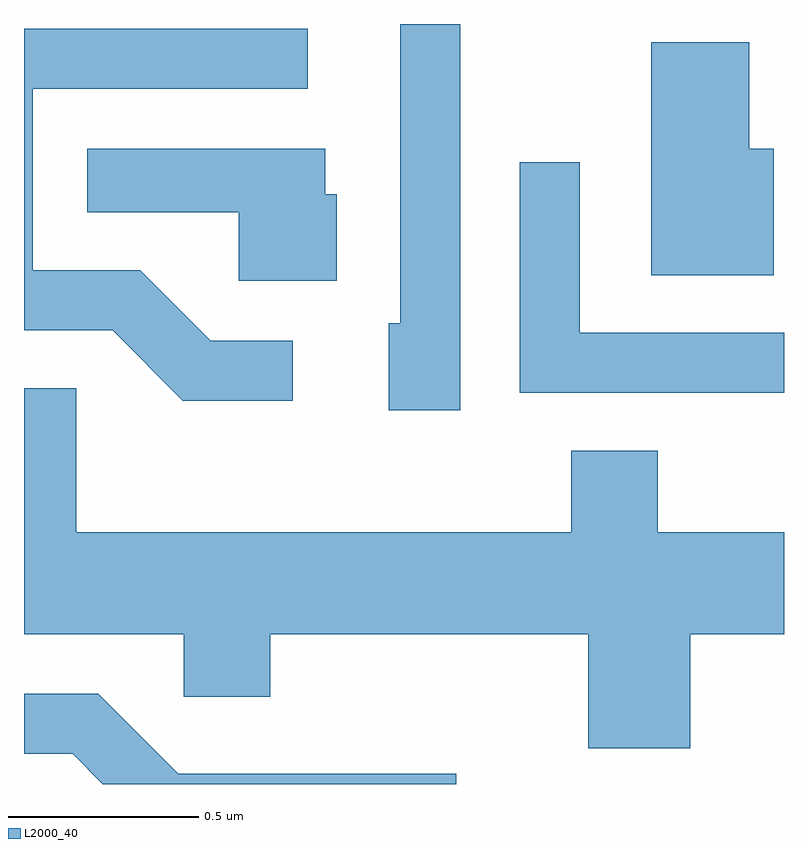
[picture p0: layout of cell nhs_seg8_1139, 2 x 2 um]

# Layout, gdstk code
import gdstk
lib = gdstk.Library(unit=1e-6, precision=1e-09)
def P(c, l, *ps):  # polygons
    for p in ps: c.add(gdstk.Polygon(p, *l))
L2000_40 = (2000, 40)

nhs_seg8_1139 = lib.new_cell('nhs_seg8_1139')
P(nhs_seg8_1139, L2000_40, [(194.759,1851.342),(194.601,1851.342),(194.601,1850.554),(194.571,1850.554),(194.571,1850.326),(194.759,1850.326)],
  [(194.318,1850.509),(194.102,1850.509),(193.917,1850.694),(193.634,1850.694),(193.634,1851.171),(194.358,1851.171),(194.358,1851.329),(193.611,1851.329),(193.611,1850.536),(193.844,1850.536),(194.029,1850.351),(194.318,1850.351)],
  [(195.584,1851.014),(195.519,1851.014),(195.519,1851.294),(195.261,1851.294),(195.261,1850.681),(195.584,1850.681)],
  [(194.434,1850.894),(194.404,1850.894),(194.404,1851.014),(193.778,1851.014),(193.778,1850.846),(194.176,1850.846),(194.176,1850.666),(194.434,1850.666)],
  [(195.611,1850.529),(195.074,1850.529),(195.074,1850.978),(194.916,1850.978),(194.916,1850.371),(195.611,1850.371)],
  [(195.364,1849.736),(195.611,1849.736),(195.611,1850.004),(195.279,1850.004),(195.279,1850.219),(195.051,1850.219),(195.051,1850.004),(193.749,1850.004),(193.749,1850.384),(193.611,1850.384),(193.611,1849.736),(194.031,1849.736),(194.031,1849.571),(194.259,1849.571),(194.259,1849.736),(195.096,1849.736),(195.096,1849.436),(195.364,1849.436)],
  [(194.749,1849.369),(194.017,1849.369),(193.807,1849.579),(193.611,1849.579),(193.611,1849.421),(193.739,1849.421),(193.818,1849.342),(194.749,1849.342)])

lib.write_gds('nhs_seg8_1139.gds')
